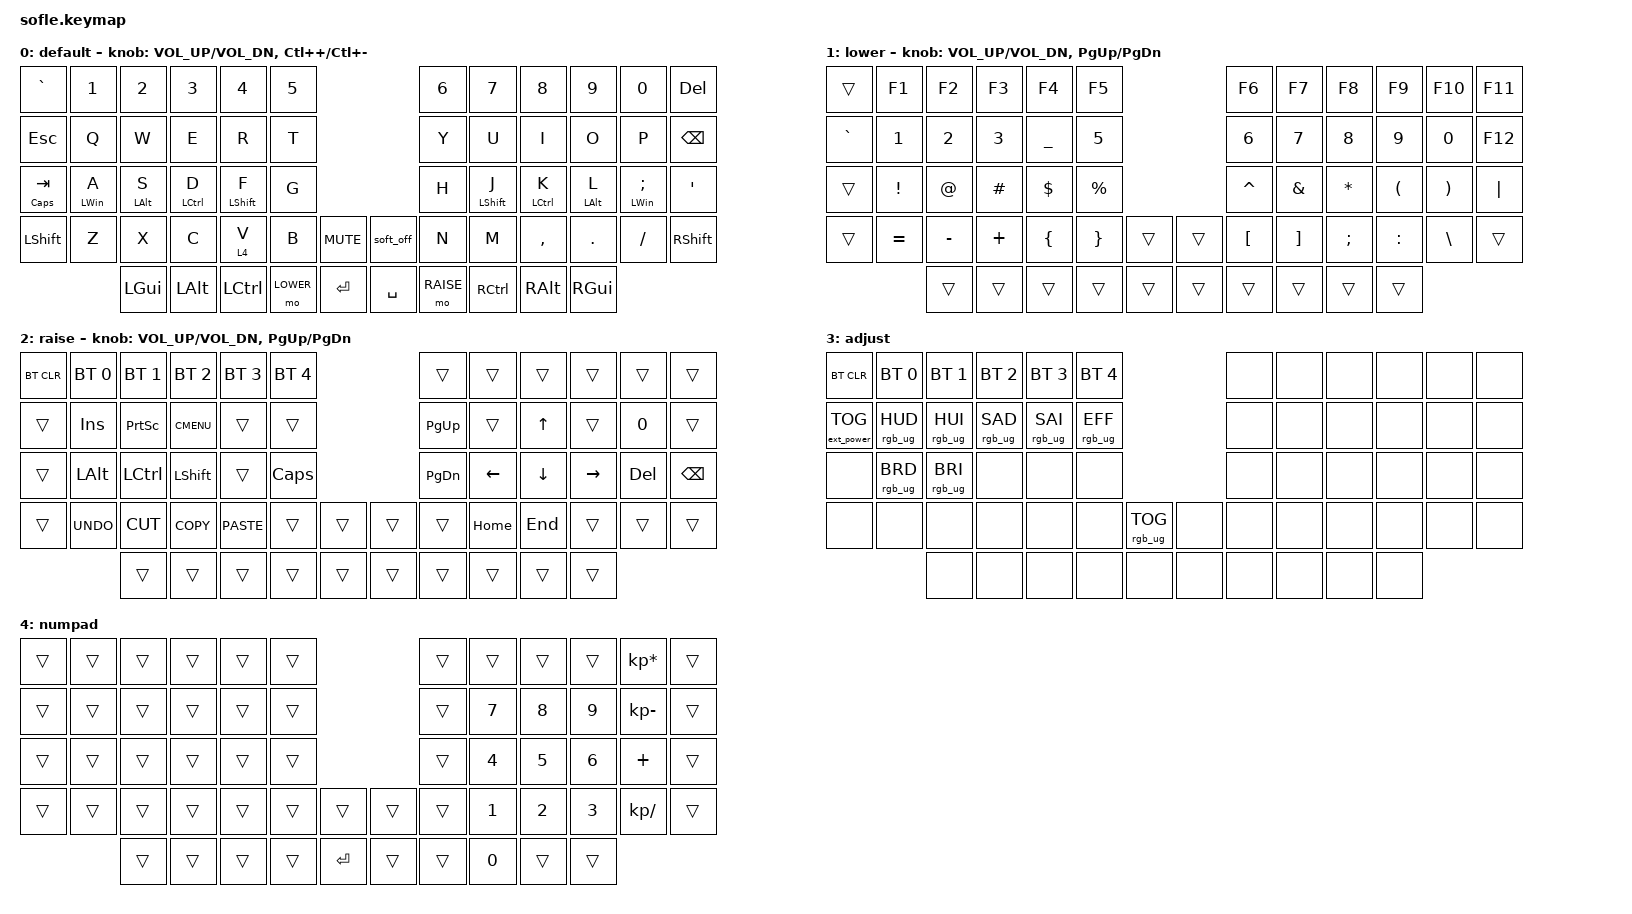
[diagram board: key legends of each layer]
/*
 * Copyright (c) 2020 The ZMK Contributors
 *
 * SPDX-License-Identifier: MIT
 */

#include <behaviors.dtsi>
#include <dt-bindings/zmk/bt.h>
#include <dt-bindings/zmk/ext_power.h>
#include <dt-bindings/zmk/keys.h>
#include <dt-bindings/zmk/rgb.h>

#define BASE 0
#define LOWER 1
#define RAISE 2
#define ADJUST 3

/ {
    // Activate ADJUST layer by pressing raise and lower

    conditional_layers {
        compatible = "zmk,conditional-layers";

        adjust_layer {
            if-layers = <LOWER RAISE>;
            then-layer = <ADJUST>;
        };
    };

    combos {
        compatible = "zmk,combos";

        select.till.end {
            bindings = <&kp LS(LC(END))>;
            key-positions = <38 39 52>;
        };

        select.till.begin {
            bindings = <&kp LS(LC(HOME))>;
            key-positions = <37 38 52>;
        };

        select-line-till-begin {
            bindings = <&kp LS(HOME)>;
            key-positions = <37 38>;
        };

        select-line-till-end {
            bindings = <&kp LS(END)>;
            key-positions = <38 39>;
        };

        zoom-out {
            bindings = <&kp LC(MINUS)>;
            key-positions = <19 20>;
        };

        zoom-in {
            bindings = <&kp LC(PLUS)>;
            key-positions = <20 21>;
        };

        alt-right {
            bindings = <&kp LA(RIGHT)>;
            key-positions = <46 47>;
        };

        alt-left {
            bindings = <&kp LA(LEFT)>;
            key-positions = <45 46>;
        };
    };

    behaviors {
        hm: hm {
            compatible = "zmk,behavior-hold-tap";
            label = "HM";
            bindings = <&kp>, <&kp>;

            #binding-cells = <2>;
            tapping-term-ms = <400>;
            quick-tap-ms = <400>;
            require-prior-idle-ms = <400>;
            flavor = "tap-preferred";
        };
    };

    keymap {
        compatible = "zmk,keymap";

        default_layer {
            display-name = "default";

            // ------------------------------------------------------------------------------------------------------------
            // |   `   |  1  |  2  |  3   |  4   |  5   |                   |  6   |  7    |  8    |  9   |   0   |       |
            // |  ESC  |  Q  |  W  |  E   |  R   |  T   |                   |  Y   |  U    |  I    |  O   |   P   | BKSPC |
            // |  TAB  |  A  |  S  |  D   |  F   |  G   |                   |  H   |  J    |  K    |  L   |   ;   |   '   |
            // | SHIFT |  Z  |  X  |  C   |  V   |  B   |  MUTE  |  |       |  N   |  M    |  ,    |  .   |   /   | SHIFT |
            //               | GUI | ALT  | CTRL | LOWER|  ENTER |  | SPACE | RAISE| CTRL  | ALT   | GUI  |

            bindings = <
&kp GRAVE     &kp N1          &kp N2          &kp N3       &kp N4            &kp N5                              &kp N6     &kp N7            &kp N8       &kp N9          &kp N0             &kp DELETE
&kp ESC       &kp Q           &kp W           &kp E        &kp R             &kp T                               &kp Y      &kp U             &kp I        &kp O           &kp P              &kp BSPC
&mt CAPS TAB  &hm LEFT_WIN A  &hm LEFT_ALT S  &hm LCTRL D  &hm LEFT_SHIFT F  &kp G                               &kp H      &hm LEFT_SHIFT J  &hm LCTRL K  &hm LEFT_ALT L  &hm LEFT_WIN SEMI  &kp SQT
&kp LSHFT     &kp Z           &kp X           &kp C        &lt 4 V           &kp B      &kp C_MUTE    &soft_off  &kp N      &kp M             &kp COMMA    &kp DOT         &kp FSLH           &kp RSHFT
                              &kp LGUI        &kp LALT     &kp LCTRL         &mo LOWER  &kp RET       &kp SPACE  &mo RAISE  &kp RCTRL         &kp RALT     &kp RGUI
            >;

            sensor-bindings =
                <&inc_dec_kp C_VOL_UP C_VOL_DN>,
                <&inc_dec_kp LC(PLUS) LC(MINUS)>;
        };

        lower_layer {
            display-name = "lower";

            // TODO: Some binds are waiting for shifted keycode support.
            // ------------------------------------------------------------------------------------------------------------
            // |       |  F1 |  F2 |  F3  |  F4  |  F5  |                   |  F6  |  F7   |  F8   |  F9  |  F10  |  F11  |
            // |   `   |  1  |  2  |  3   |  4   |  5   |                   |  6   |  7    |  8    |  9   |   0   |  F12  |
            // |       |  !  |  @  |  #   |  $   |  %   |                   |  ^   |  &    |  *    |  (   |   )   |   |   |
            // |       |  =  |  -  |  +   |  {   |  }   |        |  |       |  [   |  ]    |  ;    |  :   |   \   |       |
            //               |     |      |      |      |        |  |       |      |       |       |      |

            bindings = <
&trans     &kp F1     &kp F2     &kp F3    &kp F4     &kp F5                       &kp F6     &kp F7    &kp F8     &kp F9     &kp F10   &kp F11
&kp GRAVE  &kp N1     &kp N2     &kp N3    &kp UNDER  &kp N5                       &kp N6     &kp N7    &kp N8     &kp N9     &kp N0    &kp F12
&trans     &kp EXCL   &kp AT     &kp HASH  &kp DLLR   &kp PRCNT                    &kp CARET  &kp AMPS  &kp ASTRK  &kp LPAR   &kp RPAR  &kp PIPE
&trans     &kp EQUAL  &kp MINUS  &kp PLUS  &kp LBRC   &kp RBRC   &trans    &trans  &kp LBKT   &kp RBKT  &kp SEMI   &kp COLON  &kp BSLH  &trans
                      &trans     &trans    &trans     &trans     &trans    &trans  &trans     &trans    &trans     &trans
            >;

            sensor-bindings = <&inc_dec_kp C_VOL_UP C_VOL_DN &inc_dec_kp PG_UP PG_DN>;
        };

        raise_layer {
            display-name = "raise";

            // ------------------------------------------------------------------------------------------------------------
            // | BTCLR | BT1  | BT2  |  BT3  |  BT4  |  BT5 |                |      |      |       |      |       |       |
            // |       | INS  | PSCR | GUI   |       |      |                | PGUP |      |   ^   |      |       |       |
            // |       | ALT  | CTRL | SHIFT |       | CAPS |                | PGDN |   <- |   v   |  ->  |  DEL  | BKSPC |
            // |       | UNDO | CUT  | COPY  | PASTE |      |      |  |      |      |      |       |      |       |       |
            //                |      |       |       |      |      |  |      |      |      |       |      |

            bindings = <
&bt BT_CLR  &bt BT_SEL 0  &bt BT_SEL 1  &bt BT_SEL 2  &bt BT_SEL 3  &bt BT_SEL 4                    &trans     &trans    &trans    &trans     &trans   &trans
&trans      &kp INS       &kp PSCRN     &kp K_CMENU   &trans        &trans                          &kp PG_UP  &trans    &kp UP    &trans     &kp N0   &trans
&trans      &kp LALT      &kp LCTRL     &kp LSHFT     &trans        &kp CLCK                        &kp PG_DN  &kp LEFT  &kp DOWN  &kp RIGHT  &kp DEL  &kp BSPC
&trans      &kp K_UNDO    &kp K_CUT     &kp K_COPY    &kp K_PASTE   &trans        &trans    &trans  &trans     &kp HOME  &kp END   &trans     &trans   &trans
                          &trans        &trans        &trans        &trans        &trans    &trans  &trans     &trans    &trans    &trans
            >;

            sensor-bindings = <&inc_dec_kp C_VOL_UP C_VOL_DN &inc_dec_kp PG_UP PG_DN>;
        };

        adjust_layer {
            // ----------------------------------------------------------------------------------------------------------------------------
            // | BTCLR  |  BT1    |  BT2    |   BT3   |   BT4   |   BT5   |                  |      |      |       |      |       |       |
            // | EXTPWR | RGB_HUD | RGB_HUI | RGB_SAD | RGB_SAI | RGB_EFF |                  |      |      |       |      |       |       |
            // |        | RGB_BRD | RGB_BRI |         |         |         |                  |      |      |       |      |       |       |
            // |        |         |         |         |         |         | RGB_TOG | |      |      |      |       |      |       |       |
            //                    |         |         |         |         |         | |      |      |      |       |      |

            display-name = "adjust";
            bindings = <
&bt BT_CLR         &bt BT_SEL 0     &bt BT_SEL 1     &bt BT_SEL 2     &bt BT_SEL 3     &bt BT_SEL 4                               &none  &none  &none  &none  &none  &none
&ext_power EP_TOG  &rgb_ug RGB_HUD  &rgb_ug RGB_HUI  &rgb_ug RGB_SAD  &rgb_ug RGB_SAI  &rgb_ug RGB_EFF                            &none  &none  &none  &none  &none  &none
&none              &rgb_ug RGB_BRD  &rgb_ug RGB_BRI  &none            &none            &none                                      &none  &none  &none  &none  &none  &none
&none              &none            &none            &none            &none            &none            &rgb_ug RGB_TOG    &none  &none  &none  &none  &none  &none  &none
                                    &none            &none            &none            &none            &none              &none  &none  &none  &none  &none
            >;
        };

        numpad {
            bindings = <
&trans  &trans  &trans  &trans  &trans  &trans                       &trans  &trans        &trans        &trans        &kp KP_MULTIPLY  &trans
&trans  &trans  &trans  &trans  &trans  &trans                       &trans  &kp N7        &kp N8        &kp N9        &kp KP_SUBTRACT  &trans
&trans  &trans  &trans  &trans  &trans  &trans                       &trans  &kp NUMBER_4  &kp N5        &kp NUMBER_6  &kp PLUS         &trans
&trans  &trans  &trans  &trans  &trans  &trans  &trans       &trans  &trans  &kp NUMBER_1  &kp NUMBER_2  &kp NUMBER_3  &kp KP_DIVIDE    &trans
                &trans  &trans  &trans  &trans  &kp ENTER    &trans  &trans  &kp N0        &trans        &trans
            >;
        };
    };
};
